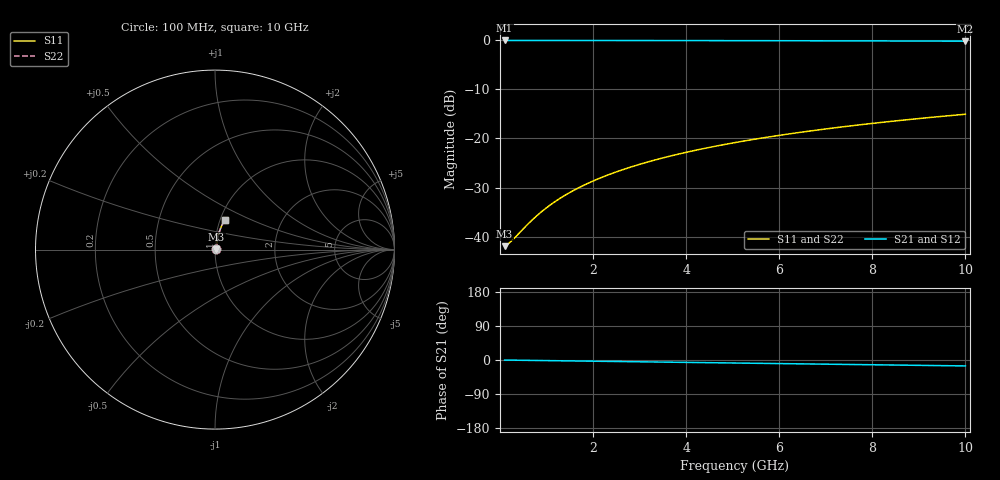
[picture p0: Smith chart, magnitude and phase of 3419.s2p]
# Hz S RI R 50.00
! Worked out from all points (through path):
!   100 points, 100 MHz to 10 GHz, reference 50 ohm
!   highest |S21| = -0.07 dB at 100 MHz (marker M1); lowest = -0.2 dB at 10 GHz (marker M2)
!   group delay of S21, straight-line fit = 4.35 ps
!   lowest |S11| = -41.9 dB at 100 MHz (marker M3), VSWR 1.02, Z = 50.8 + j0.18 ohm
!   |S11| at or under -10 dB: start of sweep to end of sweep
!   |S22| runs from -41.9 to -15.1 dB; largest |S21 - S12| = 0
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1e8  0.00781 0.00178  0.9922 -0.00273  0.9922 -0.00273  0.00781 0.00178
2e8  0.00787 0.00355  0.9921 -0.00547  0.9921 -0.00547  0.00787 0.00355
3e8  0.00794 0.00533  0.9921 -0.0082  0.9921 -0.0082  0.00794 0.00533
6e8  0.00815 0.0107  0.9918 -0.0164  0.9918 -0.0164  0.00815 0.0107
7e8  0.00823 0.0124  0.9917 -0.0191  0.9917 -0.0191  0.00823 0.0124
8e8  0.00832 0.0142  0.9916 -0.0219  0.9916 -0.0219  0.00832 0.0142
1e9  0.00853 0.0177  0.9914 -0.0273  0.9914 -0.0273  0.00853 0.0177
1.2e9  0.00878 0.0213  0.9911 -0.0328  0.9911 -0.0328  0.00878 0.0213
1.4e9  0.00906 0.0248  0.9908 -0.0382  0.9908 -0.0382  0.00906 0.0248
1.6e9  0.00937 0.0284  0.9905 -0.0437  0.9905 -0.0437  0.00937 0.0284
1.8e9  0.00973 0.0319  0.9901 -0.0491  0.9901 -0.0491  0.00973 0.0319
2.1e9  0.0103 0.0372  0.9894 -0.0573  0.9894 -0.0573  0.0103 0.0372
2.5e9  0.0113 0.0442  0.9884 -0.0682  0.9884 -0.0682  0.0113 0.0442
2.9e9  0.0123 0.0512  0.9872 -0.079  0.9872 -0.079  0.0123 0.0512
3.4e9  0.0139 0.0599  0.9855 -0.0925  0.9855 -0.0925  0.0139 0.0599
4.2e9  0.0169 0.0737  0.9822 -0.114  0.9822 -0.114  0.0169 0.0737
5.1e9  0.021 0.0891  0.9778 -0.138  0.9778 -0.138  0.021 0.0891
5.9e9  0.0252 0.1025  0.9731 -0.1591  0.9731 -0.1591  0.0252 0.1025
6.7e9  0.0301 0.1157  0.9678 -0.18  0.9678 -0.18  0.0301 0.1157
7.5e9  0.0354 0.1287  0.9619 -0.2007  0.9619 -0.2007  0.0354 0.1287
8.4e9  0.0421 0.1429  0.9545 -0.2235  0.9545 -0.2235  0.0421 0.1429
1e10  0.0556 0.1671  0.9397 -0.2633  0.9397 -0.2633  0.0556 0.1671
